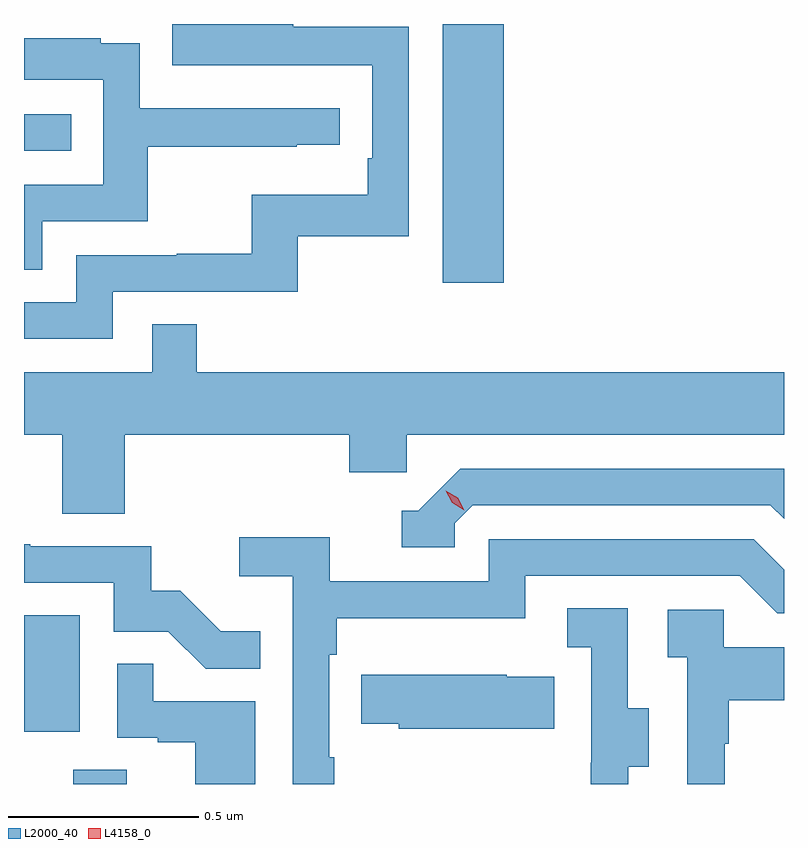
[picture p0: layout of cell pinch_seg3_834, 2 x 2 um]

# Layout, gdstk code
import gdstk
lib = gdstk.Library(unit=1e-6, precision=1e-09)
def R(c, l, rs):  # rectangles x0, y0, x1, y1
    for r in rs: c.add(gdstk.rectangle(r[:2], r[2:], *l))
def P(c, l, *ps):  # polygons
    for p in ps: c.add(gdstk.Polygon(p, *l))
L2000_40 = (2000, 40)
L4158_0 = (4158, 0)

pinch_seg3_834 = lib.new_cell('pinch_seg3_834')
R(pinch_seg3_834, L2000_40, [(880.085,721.309,880.225,721.346), (879.955,721.446,880.102,721.753), (881.057,722.628,881.218,723.309), (879.955,722.976,880.079,723.072)])
P(pinch_seg3_834, L2000_40, [(880.188,722.604),(880.675,722.604),(880.675,722.751),(880.968,722.751),(880.968,723.302),(880.663,723.302),(880.663,723.309),(880.345,723.309),(880.345,723.2),(880.559,723.2),(880.559,723.201),(880.872,723.201),(880.872,722.956),(880.859,722.956),(880.859,722.86),(880.554,722.86),(880.554,722.705),(880.357,722.705),(880.357,722.7),(880.092,722.7),(880.092,722.577),(879.955,722.577),(879.955,722.481),(880.188,722.481)],
  [(880.003,722.79),(880.28,722.79),(880.28,722.986),(880.673,722.986),(880.673,722.991),(880.786,722.991),(880.786,723.087),(880.26,723.087),(880.26,723.259),(880.157,723.259),(880.157,723.271),(879.955,723.271),(879.955,723.162),(880.164,723.162),(880.164,722.886),(879.955,722.886),(879.955,722.662),(880.003,722.662)],
  [(880.22,722.228),(880.811,722.228),(880.811,722.13),(880.962,722.13),(880.962,722.228),(881.955,722.228),(881.955,722.392),(880.409,722.392),(880.409,722.519),(880.293,722.519),(880.293,722.392),(879.955,722.392),(879.955,722.228),(880.055,722.228),(880.055,722.02),(880.22,722.02)],
  [(881.088,721.995),(881.136,722.043),(881.919,722.043),(881.955,722.007),(881.955,722.139),(881.103,722.139),(880.992,722.028),(880.949,722.028),(880.949,721.932),(881.088,721.932)],
  [(880.771,721.379),(880.758,721.379),(880.758,721.649),(880.778,721.649),(880.778,721.745),(881.274,721.745),(881.274,721.857),(881.838,721.857),(881.937,721.758),(881.955,721.758),(881.955,721.873),(881.875,721.953),(881.178,721.953),(881.178,721.842),(880.76,721.842),(880.76,721.958),(880.521,721.958),(880.521,721.856),(880.662,721.856),(880.662,721.309),(880.771,721.309)],
  [(880.577,721.711),(880.473,721.711),(880.366,721.818),(880.29,721.818),(880.29,721.935),(879.971,721.935),(879.971,721.94),(879.955,721.94),(879.955,721.839),(880.191,721.839),(880.191,721.71),(880.335,721.71),(880.433,721.612),(880.577,721.612)],
  [(881.545,721.354),(881.599,721.354),(881.599,721.509),(881.544,721.509),(881.544,721.772),(881.385,721.772),(881.385,721.669),(881.448,721.669),(881.448,721.365),(881.447,721.365),(881.447,721.309),(881.545,721.309)],
  [(881.799,721.415),(881.809,721.415),(881.809,721.529),(881.955,721.529),(881.955,721.669),(881.796,721.669),(881.796,721.767),(881.649,721.767),(881.649,721.643),(881.7,721.643),(881.7,721.309),(881.799,721.309)],
  [(880.564,721.527),(880.295,721.527),(880.295,721.625),(880.2,721.625),(880.2,721.431),(880.307,721.431),(880.307,721.419),(880.406,721.419),(880.406,721.309),(880.564,721.309)],
  [(881.351,721.591),(881.226,721.591),(881.226,721.597),(880.843,721.597),(880.843,721.468),(880.941,721.468),(880.941,721.454),(881.351,721.454)])
P(pinch_seg3_834, L4158_0, [(881.113,722.03),(881.082,722.049),(881.065,722.081),(881.065,722.081),(881.065,722.081),(881.096,722.062),(881.113,722.03),(881.113,722.03)])

lib.write_gds('pinch_seg3_834.gds')
